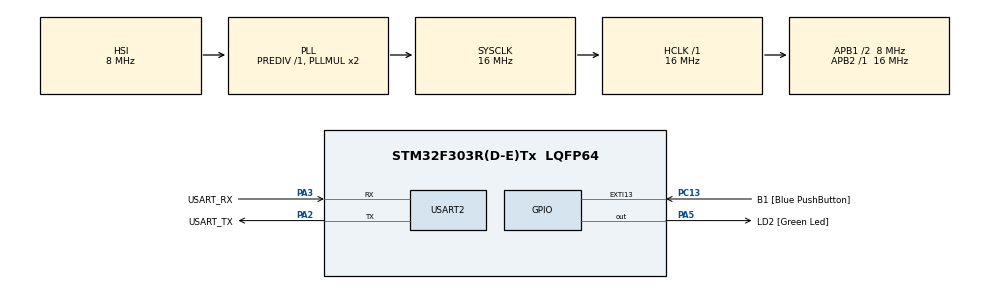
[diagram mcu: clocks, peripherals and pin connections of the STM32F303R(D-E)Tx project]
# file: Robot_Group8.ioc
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Mcu.Family=STM32F3
Mcu.Name=STM32F303R(D-E)Tx
Mcu.Package=LQFP64
NVIC.PriorityGroup=NVIC_PRIORITYGROUP_0
PA13.GPIO_Label=TMS
PA13.Mode=Serial_Wire
PA13.Signal=SYS_JTMS-SWDIO
PA14.GPIO_Label=TCK
PA14.Mode=Serial_Wire
PA14.Signal=SYS_JTCK-SWCLK
PA2.GPIO_Label=USART_TX
PA2.GPIO_Mode=GPIO_MODE_AF_PP
PA2.GPIO_PuPd=GPIO_NOPULL
PA2.GPIO_Speed=GPIO_SPEED_FREQ_LOW
PA2.Mode=Asynchronous
PA2.Signal=USART2_TX
PA3.GPIO_Label=USART_RX
PA3.GPIO_Mode=GPIO_MODE_AF_PP
PA3.GPIO_PuPd=GPIO_NOPULL
PA3.GPIO_Speed=GPIO_SPEED_FREQ_LOW
PA3.Mode=Asynchronous
PA3.Signal=USART2_RX
PA5.GPIO_Label=LD2 [Green Led]
PA5.GPIO_Mode=GPIO_MODE_OUTPUT_PP
PA5.GPIO_PuPd=GPIO_NOPULL
PA5.GPIO_Speed=GPIO_SPEED_FREQ_LOW
PA5.Signal=GPIO_Output
PB3.GPIO_Label=SWO
PB3.Signal=SYS_JTDO-TRACESWO
PC13.GPIO_Label=B1 [Blue PushButton]
PC13.GPIO_ModeDefaultEXTI=GPIO_MODE_IT_FALLING
PC13.Signal=GPXTI13
PC14-OSC32_IN.Mode=LSE-External-Oscillator
PC14-OSC32_IN.Signal=RCC_OSC32_IN
PC15-OSC32_OUT.Mode=LSE-External-Oscillator
PC15-OSC32_OUT.Signal=RCC_OSC32_OUT
PF0-OSC_IN.Mode=HSE-External-Clock-Source
PF0-OSC_IN.Signal=RCC_OSC_IN
PF1-OSC_OUT.Signal=RCC_OSC_OUT
ProjectManager.HeapSize=0x200
ProjectManager.StackSize=0x400
ProjectManager.TargetToolchain=STM32CubeIDE
RCC.AHBFreq_Value=16000000
RCC.APB1CLKDivider=RCC_HCLK_DIV2
RCC.APB1Freq_Value=8000000
RCC.APB1TimFreq_Value=16000000
RCC.APB2Freq_Value=16000000
RCC.APB2TimFreq_Value=16000000
RCC.CortexFreq_Value=16000000
RCC.HCLKFreq_Value=16000000
RCC.HSE_VALUE=8000000
RCC.HSI_VALUE=8000000
RCC.PLLM=8
RCC.PLLN=336
RCC.PLLP=RCC_PLLP_DIV4
RCC.PLLQ=7
RCC.RCC_PLLsource_Clock_Source_FROM_HSE=RCC_HSE_PREDIV_DIV2
RCC.SYSCLKFreq_VALUE=16000000
RCC.SYSCLKSourceVirtual=RCC_SYSCLKSOURCE_PLLCLK
RCC.USBFreq_Value=16000000
USART2.VirtualMode-Asynchronous=VM_ASYNC
board=NUCLEO-F303RE

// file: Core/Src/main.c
/* USER CODE BEGIN Header */
/**
 ******************************************************************************
 * @file           : main.c
 * @brief          : Main program body
 ******************************************************************************
 * @attention
 *
 * Copyright (c) 2022 STMicroelectronics.
 * All rights reserved.
 *
 * This software is licensed under terms that can be found in the LICENSE file
 * in the root directory of this software component.
 * If no LICENSE file comes with this software, it is provided AS-IS.
 *
 ******************************************************************************
 */
/* USER CODE END Header */
#include "main.h"
#include "robotProject.h"

UART_HandleTypeDef huart2;

void SystemClock_Config(void);
static void MX_GPIO_Init(void);
static void MX_USART2_UART_Init(void);

/* USER CODE BEGIN 0 */
void SysTick_Init(uint32_t ticks) {
	SysTick->CTRL = 0; //disable clock for configuration
	SysTick->LOAD = ticks - 1;

	NVIC_SetPriority(SysTick_IRQn, (1 << __NVIC_PRIO_BITS) - 1); // Set interrupt priority of SysTick to least urgency (i.e., largest priority value)

	SysTick->VAL = 0; // Reset the SysTick counter value
	SysTick->CTRL = 0x7; //setting the Enable, interrupt and clock source bit
}

void SysTick_Handler(void)
{
	timeCounter++; // TimeDelay is a global volatile variable
}

//configure the GPIO pins
void GPIO_port_configuration(void) {
	RCC->AHBENR |= RCC_AHBENR_GPIOAEN; // configure clock port A
	// servo1 I'm using PA10
	GPIOA->AFR[1] |= (1 << 9) | (1 << 11);//TIM2 channel 4 used PA10 and AF10, servo 1
	GPIOA->AFR[0] |= (1 << 4); //TIM2 channel 2 used PBA1 and AF1, servo2
	GPIOA->MODER &= ~(3U << 20);
	GPIOA->MODER &= ~(3U << 2);
	GPIOA->MODER |= GPIO_MODER_MODER10_1; // set moder for servo1 (alternate function)
	GPIOA->MODER |= GPIO_MODER_MODER1_1; // set moder for servo2 (alternate function)

	RCC->AHBENR |= RCC_AHBENR_GPIOBEN; // configure clock port B
	/*Input GPIO configuration*/
	GPIOB->AFR[0] &= ~GPIO_AFRL_AFRL6;
	GPIOB->AFR[0] |= 0x2 << GPIO_AFRL_AFRL6_Pos; //TIM4 channel 1 used PB6 and AF2
	GPIOB->MODER &= ~GPIO_MODER_MODER6;
	GPIOB->MODER |= GPIO_MODER_MODER6_1; //alternate fuction
	GPIOB->PUPDR &= ~(3U << 12); // no PU/PD, dependent on the circuit

	GPIOB->AFR[0] &= ~GPIO_AFRL_AFRL7;
	GPIOB->AFR[0] |= 0x2 << GPIO_AFRL_AFRL7_Pos; //TIM4 channel 1 used PB6 and AF2
	GPIOB->MODER &= ~GPIO_MODER_MODER7;
	GPIOB->MODER |= GPIO_MODER_MODER7_1; //alternate fuction
	GPIOB->PUPDR &= ~(3U << 14); // no PU/PD, dependent on the circuit
	/*Output GPIO configuration*/
	GPIOB->AFR[0] &= ~GPIO_AFRL_AFRL5;
	GPIOB->AFR[0] |= 0x2 << GPIO_AFRL_AFRL5_Pos; //TIM3 channel 2 used PB5 and AF2
	GPIOB->MODER &= ~GPIO_MODER_MODER5;
	GPIOB->MODER |= GPIO_MODER_MODER5_1;
	/*LED PB4*/
	GPIOB->MODER &= ~GPIO_MODER_MODER4; //clear the moder register
	GPIOB->MODER |= GPIO_MODER_MODER4_0; //Set pins PB4 as output (LED)
	GPIOB->OTYPER &= ~GPIO_OTYPER_OT_4; //Set output push-pull
}

//configure the Timer register for the wheel
void Timer_configuration_servo(uint32_t PSC, uint32_t ARR) {
	RCC->APB1ENR |= RCC_APB1ENR_TIM2EN; // enable the timer 3 clock

	TIM2->PSC = PSC - 1; //set the prescaler, PWM frequency = 72kHz
	TIM2->ARR = ARR - 1; //PWM duty cycle
	TIM2->CNT = 0; // reset value

	TIM2->CCMR2 |= TIM_CCMR2_OC4PE; // enable output compare preload timer 2 (channel 4)
	TIM2->CCMR1 |= TIM_CCMR1_OC2PE; // enable output compare preload timer 2 (channel 2)
	TIM2->CCMR2 |= (1 << 13) | (1 << 14); // set PWM mode to mode 1 on timer 2 (channel 4)
	TIM2->CCMR1 |= (1 << 13) | (1 << 14); // set PWM mode to mode 1 on timer 2 (channel 2)
	TIM2->CCER |= TIM_CCER_CC4E; //enable compare output channel 4
	TIM2->CCER |= TIM_CCER_CC2E; //enable compare output channel 2
	TIM2->CR1 = TIM_CR1_CEN; //enable counter timer 2
}

//configure the Timer register for the distance sensor
void Timer_configuration_ultrasonic(uint32_t PSC, uint32_t ARR) {
	/*Output timer configuration*/
	RCC->APB1ENR |= RCC_APB1ENR_TIM3EN; // enable the timer 3 clock
	TIM3->PSC = PSC - 1; //set the prescaler, PWM frequency = 72kHz
	TIM3->ARR = ARR - 1; //PWM duty cycle
	TIM3->CNT = 0; // reset value
	TIM3->CCR2 = 10; //the sensor must be receive a pulse of at lease 10us, in this case it is approximately 12us

	TIM3->CCMR1 |= TIM_CCMR1_OC2PE; // enable output compare preload timer 3 (channel 2)
	TIM3->CCMR1 &= ~TIM_CCMR1_OC2M_0;
	TIM3->CCMR1 &= ~TIM_CCMR1_OC2M_3;
	TIM3->CCMR1 |= TIM_CCMR1_OC2M_1 | TIM_CCMR1_OC2M_2; // set PWM mode to mode 1 on timer 3 (channel 2)
	TIM3->CCER |= TIM_CCER_CC2E; //enable compare output channel 2
	TIM3->CR1 = TIM_CR1_CEN; //enable counter timer 2

	/*Input timer configuration*/
	RCC->APB1ENR |= RCC_APB1ENR_TIM4EN; // enable the timer 4 clock

	TIM4->PSC = PSC - 1; //set the prescaler, PWM frequency = 72kHz
	TIM4->ARR = ARR - 1; //PWM duty cycle
	TIM4->CNT = 0; // reset value

	TIM4->CCMR1 &= ~TIM_CCMR1_IC1F; // clear the bits so the input filter durtion is 0
	TIM4->CCMR1 &= ~TIM_CCMR1_IC1PSC; //no PSC
	TIM4->CCMR1 &= ~TIM_CCMR1_CC1S_0; //configured CC1 on TI1
	TIM4->CCMR1 |= TIM_CCMR1_CC1S_1;
	TIM4->CCER &= ~TIM_CCER_CC1P; //non-inverted/ rising-edge
	TIM4->CCER &= ~TIM_CCER_CC1NP;
	TIM4->CCER |= TIM_CCER_CC1E; //enable capture channel
	TIM4->DIER |= TIM_DIER_CC1IE;

	TIM4->CCMR1 &= ~TIM_CCMR1_IC2F; // clear the bits so the input filter durtion is 0
	TIM4->CCMR1 &= ~TIM_CCMR1_IC2PSC; //no PSC
	TIM4->CCMR1 |= TIM_CCMR1_CC2S_0; //configured CC2 on TI1
	TIM4->CCMR1 &= ~TIM_CCMR1_CC2S_1;
	TIM4->CCER |= TIM_CCER_CC2P; //inverted/ falling-edge
	TIM4->CCER &= ~TIM_CCER_CC2NP;
	TIM4->CCER |= TIM_CCER_CC2E; //enable capture channel
	TIM4->DIER |= TIM_DIER_CC2IE;

	TIM4->SMCR &= ~TIM_SMCR_TS_1;
	TIM4->SMCR |= (TIM_SMCR_TS_0 | TIM_SMCR_TS_2);
	TIM4->SMCR |= TIM_SMCR_SMS_2;

	TIM4->CR1 = TIM_CR1_CEN; //enable counter timer 2
}
/* USER CODE END 0 */

//fuction to map the speed of the wheel
double MAP(double OldValue, double OldMin, double OldMax, double NewMin, double NewMax)
{
    double OldRange = (OldMax - OldMin);
    double NewRange = (NewMax - NewMin);
    double NewValue = (((OldValue - OldMin) * NewRange) / OldRange) + NewMin;
    return NewValue;
}

void Generate_Turning_Decision(int inputNumber)
{
	timeCounter2 = 0;
	if(inputNumber == 0)
	{
		TIM2->CCR2 = CCRx_90_SERVO1; //moving forward
		TIM2->CCR4 = CCRx_MINUS_90_SERVO2; //moving back
		if (timeCounter2 >= 5000) //1s delay
		{
			timeCounter2 = 0;
		}
	}
	else if (inputNumber == 1)
	{
		TIM2->CCR2 = CCRx_MINUS_90_SERVO1; //moving back
		TIM2->CCR4 = CCRx_0_SERVO2; //moving forward
		if (timeCounter2 >= 5000) //1s delay
		{
			timeCounter2 = 0;
		}
	}
}

void adjust_robot_state(Robot_States state, int controlValue, int range)
{
	switch(state)
	{
		case MOVING_FOWARD:
			control_servo(controlValue);
			if(range >= -4)
			{
				timeCounter2 = 0;
//				unsigned int number = rand() % 2;
//				Generate_Turning_Decision(number);
				TIM2->CCR2 = CCRx_90_SERVO1; //moving forward
				TIM2->CCR4 = CCRx_MINUS_90_SERVO2; //moving back
				if (timeCounter2 >= 1000) //1s delay
				{
					timeCounter2 = 0;
				}
			}
			break;
		case MOVING_BACKWARD:
			control_servo(controlValue);
			if(range <= 4)
			{
				timeCounter2 = 0;
				TIM2->CCR2 = CCRx_90_SERVO1; //moving forward
				TIM2->CCR4 = CCRx_MINUS_90_SERVO2; //moving back
				if (timeCounter2 >= 1000) //1s delay
				{
					timeCounter2 = 0;
				}
			}
			break;
		default:
			break;
	}
}

void Adjust_Robot_By_Distance(int controlValue, int range)
{
	if(controlValue < MIN_SPEED_LIMIT)
	{
		controlValue = MIN_SPEED_LIMIT;
	}
	else if (controlValue > MAX_SPEED_LIMIT)
	{
		controlValue = MAX_SPEED_LIMIT;
	}

	if(range < 0)
	{
		adjust_robot_state(MOVING_FOWARD, controlValue, range);
	}
	else if(range > 0)
	{
		adjust_robot_state(MOVING_BACKWARD, controlValue, range);
	}
}

//function to genera the servo power
void control_servo(int controlValue)
{
	TIM2->CCR2 = MAP(controlValue, MIN_SPEED_LIMIT, MAX_SPEED_LIMIT, CCRx_MINUS_90_SERVO2, CCRx_90_SERVO2);
	TIM2->CCR4 = MAP(controlValue, MIN_SPEED_LIMIT, MAX_SPEED_LIMIT, CCRx_MINUS_90_SERVO1, CCRx_90_SERVO1);
}

int execute_PD(int error, int derivative, int KP, int KD)
{
	return (error*KP + derivative*KD);
}

//function to get the sensor value
float get_sensor_value(void)
{
	risingEdgeEvent = (TIM4->CCR1) / 58;
	fallingEdgeEvent = (TIM4->CCR2) / 58;
	distance = fallingEdgeEvent - risingEdgeEvent;
	return distance;
}

void my_PD(int setPoint) {
	timeCounter = 0; // timerCounter is a volatile global variable
	int error = 0;
	float sensorValue = 0;
	float previousError = 0;
	float derivative = 0;
	float KP = 5;
	float KD = 1.5;
	int power = 0;
	float delayMs = 20; //flag, servo is control every 20ms
	while (1) {
		if (timeCounter >= delayMs) //every 20ms period
		{
			sensorValue = get_sensor_value();
			error = setPoint - sensorValue; //updating the error
			derivative = error - previousError; //updating the derivative
			power = execute_PD(error, derivative, KP, KD);
			previousError = error;//updating the last error
			Adjust_Robot_By_Distance(power, error);
			timeCounter = 0; //updating the delay, possibility to overflow
		}
	}
}

int main(void)
{

  /* MCU Configuration--------------------------------------------------------*/

  /* Reset of all peripherals, Initializes the Flash interface and the Systick. */
  HAL_Init();

  /* Configure the system clock */
  SystemClock_Config();

  /* USER CODE BEGIN SysInit */
	srand((unsigned int)time(0));
  /* USER CODE END SysInit */

  /* Initialize all configured peripherals */
  MX_GPIO_Init();
  MX_USART2_UART_Init();

  /* Infinite loop */
  /* USER CODE BEGIN WHILE */
	Timer_configuration_servo(16, 20000);
	Timer_configuration_ultrasonic(16, 0xFFFF);
	GPIO_port_configuration();
	SysTick_Init(16000);
	my_PD(30);
	while (1) {
    /* USER CODE END WHILE */

	}
}

void SystemClock_Config(void)
{
  RCC_OscInitTypeDef RCC_OscInitStruct = {0};
  RCC_ClkInitTypeDef RCC_ClkInitStruct = {0};
  RCC_PeriphCLKInitTypeDef PeriphClkInit = {0};

  /** Initializes the RCC Oscillators according to the specified parameters
  * in the RCC_OscInitTypeDef structure.
  */
  RCC_OscInitStruct.OscillatorType = RCC_OSCILLATORTYPE_HSI;
  RCC_OscInitStruct.HSIState = RCC_HSI_ON;
  RCC_OscInitStruct.HSICalibrationValue = RCC_HSICALIBRATION_DEFAULT;
  RCC_OscInitStruct.PLL.PLLState = RCC_PLL_ON;
  RCC_OscInitStruct.PLL.PLLSource = RCC_PLLSOURCE_HSI;
  RCC_OscInitStruct.PLL.PLLMUL = RCC_PLL_MUL2;
  RCC_OscInitStruct.PLL.PREDIV = RCC_PREDIV_DIV1;
  if (HAL_RCC_OscConfig(&RCC_OscInitStruct) != HAL_OK)
  {
    Error_Handler();
  }

  /** Initializes the CPU, AHB and APB buses clocks
  */
  RCC_ClkInitStruct.ClockType = RCC_CLOCKTYPE_HCLK|RCC_CLOCKTYPE_SYSCLK
                              |RCC_CLOCKTYPE_PCLK1|RCC_CLOCKTYPE_PCLK2;
  RCC_ClkInitStruct.SYSCLKSource = RCC_SYSCLKSOURCE_PLLCLK;
  RCC_ClkInitStruct.AHBCLKDivider = RCC_SYSCLK_DIV1;
  RCC_ClkInitStruct.APB1CLKDivider = RCC_HCLK_DIV2;
  RCC_ClkInitStruct.APB2CLKDivider = RCC_HCLK_DIV1;

  if (HAL_RCC_ClockConfig(&RCC_ClkInitStruct, FLASH_LATENCY_0) != HAL_OK)
  {
    Error_Handler();
  }
  PeriphClkInit.PeriphClockSelection = RCC_PERIPHCLK_USART2;
  PeriphClkInit.Usart2ClockSelection = RCC_USART2CLKSOURCE_PCLK1;
  if (HAL_RCCEx_PeriphCLKConfig(&PeriphClkInit) != HAL_OK)
  {
    Error_Handler();
  }
}

static void MX_USART2_UART_Init(void)
{

  huart2.Instance = USART2;
  huart2.Init.BaudRate = 38400;
  huart2.Init.WordLength = UART_WORDLENGTH_8B;
  huart2.Init.StopBits = UART_STOPBITS_1;
  huart2.Init.Parity = UART_PARITY_NONE;
  huart2.Init.Mode = UART_MODE_TX_RX;
  huart2.Init.HwFlowCtl = UART_HWCONTROL_NONE;
  huart2.Init.OverSampling = UART_OVERSAMPLING_16;
  huart2.Init.OneBitSampling = UART_ONE_BIT_SAMPLE_DISABLE;
  huart2.AdvancedInit.AdvFeatureInit = UART_ADVFEATURE_NO_INIT;
  if (HAL_UART_Init(&huart2) != HAL_OK)
  {
    Error_Handler();
  }

}

static void MX_GPIO_Init(void)
{
  GPIO_InitTypeDef GPIO_InitStruct = {0};

  /* GPIO Ports Clock Enable */
  __HAL_RCC_GPIOC_CLK_ENABLE();
  __HAL_RCC_GPIOF_CLK_ENABLE();
  __HAL_RCC_GPIOA_CLK_ENABLE();
  __HAL_RCC_GPIOB_CLK_ENABLE();

  /*Configure GPIO pin Output Level */
  HAL_GPIO_WritePin(LD2_GPIO_Port, LD2_Pin, GPIO_PIN_RESET);

  /*Configure GPIO pin : B1_Pin */
  GPIO_InitStruct.Pin = B1_Pin;
  GPIO_InitStruct.Mode = GPIO_MODE_IT_FALLING;
  GPIO_InitStruct.Pull = GPIO_NOPULL;
  HAL_GPIO_Init(B1_GPIO_Port, &GPIO_InitStruct);

  /*Configure GPIO pin : LD2_Pin */
  GPIO_InitStruct.Pin = LD2_Pin;
  GPIO_InitStruct.Mode = GPIO_MODE_OUTPUT_PP;
  GPIO_InitStruct.Pull = GPIO_NOPULL;
  GPIO_InitStruct.Speed = GPIO_SPEED_FREQ_LOW;
  HAL_GPIO_Init(LD2_GPIO_Port, &GPIO_InitStruct);

}

void Error_Handler(void)
{
	__disable_irq();
	while (1) {
	}
}
